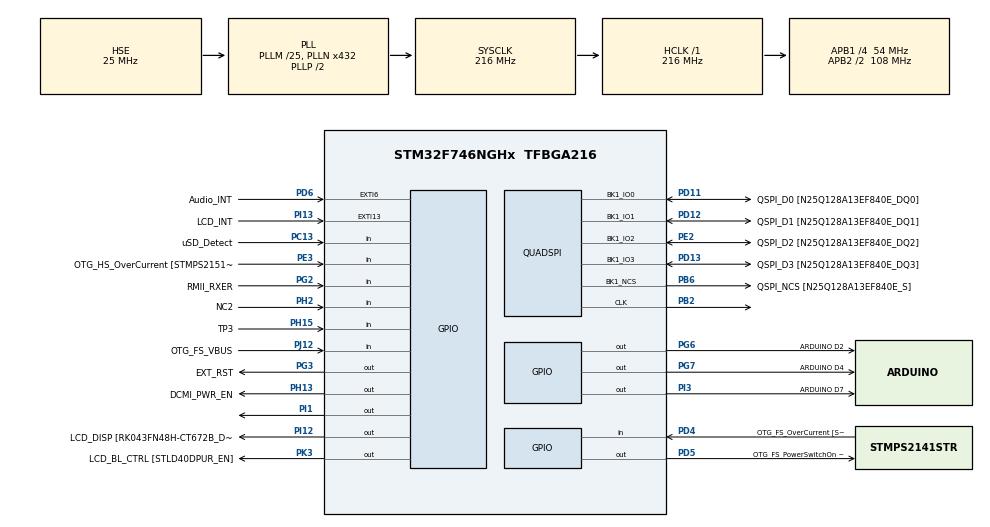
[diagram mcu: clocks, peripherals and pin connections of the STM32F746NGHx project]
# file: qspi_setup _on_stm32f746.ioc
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CORTEX_M7.CPU_DCache=Enabled
CORTEX_M7.CPU_ICache=Enabled
Mcu.Family=STM32F7
Mcu.Name=STM32F746NGHx
Mcu.Package=TFBGA216
NVIC.PriorityGroup=NVIC_PRIORITYGROUP_4
NVIC.RCC_IRQn=true\:0\:0\:false\:false\:true\:true\:false
PA0/WKUP.GPIO_Label=ARDUINO A0
PA0/WKUP.GPIO_Mode=GPIO_MODE_ANALOG
PA0/WKUP.GPIO_PuPd=GPIO_NOPULL
PA0/WKUP.Signal=ADCx_IN0
PA1.GPIO_Label=RMII_REF_CLK [LAN8742A-CZ-TR_REFCLK0]
PA1.Signal=ETH_REF_CLK
PA10.GPIO_Label=OTG_FS_ID
PA10.Signal=USB_OTG_FS_ID
PA11.GPIO_Label=OTG_FS_N
PA11.Signal=USB_OTG_FS_DM
PA12.GPIO_Label=OTG_FS_P
PA12.Signal=USB_OTG_FS_DP
PA13.GPIO_Label=SWDIO
PA13.Signal=SYS_JTMS-SWDIO
PA14.GPIO_Label=SWCLK
PA14.Signal=SYS_JTCK-SWCLK
PA15.GPIO_Label=ARDUINO PWM/D9
PA15.GPIO_ModeDefaultPP=GPIO_MODE_AF_PP
PA15.GPIO_PuPd=GPIO_NOPULL
PA15.GPIO_Speed=GPIO_SPEED_FREQ_LOW
PA15.Signal=S_TIM2_CH1_ETR
PA2.GPIO_Label=RMII_MDIO [LAN8742A-CZ-TR_MDIO]
PA2.Signal=ETH_MDIO
PA3.GPIO_Label=ULPI_D0 [USB3320C-EZK_D0]
PA3.Signal=USB_OTG_HS_ULPI_D0
PA4.GPIO_Label=DCMI_HSYNC
PA4.Signal=DCMI_HSYNC
PA5.GPIO_Label=ULPI_CLK [USB3320C-EZK_CLKOUT]
PA5.Signal=USB_OTG_HS_ULPI_CK
PA6.Signal=DCMI_PIXCLK
PA7.GPIO_Label=RMII_CRS_DV [LAN8742A-CZ-TR_CRS_DV]
PA7.Signal=ETH_CRS_DV
PA8.GPIO_Label=ARDUINO PWM/D10
PA8.GPIO_ModeDefaultPP=GPIO_MODE_AF_PP
PA8.GPIO_PuPd=GPIO_NOPULL
PA8.GPIO_Speed=GPIO_SPEED_FREQ_LOW
PA8.Signal=S_TIM1_CH1
PA9.GPIO_Label=VCP_TX [STM32F103CBT6_PA3]
PA9.GPIO_Mode=GPIO_MODE_AF_PP
PA9.GPIO_PuPd=GPIO_NOPULL
PA9.GPIO_Speed=GPIO_SPEED_FREQ_LOW
PA9.Signal=USART1_TX
PB0.GPIO_Label=ULPI_D1 [USB3320C-EZK_D1]
PB0.Signal=USB_OTG_HS_ULPI_D1
PB1.GPIO_Label=ULPI_D2 [USB3320C-EZK_D2]
PB1.Signal=USB_OTG_HS_ULPI_D2
PB10.GPIO_Label=ULPI_D3 [USB3320C-EZK_D3]
PB10.Signal=USB_OTG_HS_ULPI_D3
PB11.GPIO_Label=ULPI_D4 [USB3320C-EZK_D4]
PB11.Signal=USB_OTG_HS_ULPI_D4
PB12.GPIO_Label=ULPI_D5 [USB3320C-EZK_D5]
PB12.Signal=USB_OTG_HS_ULPI_D5
PB13.GPIO_Label=ULPI_D6 [USB3320C-EZK_D6]
PB13.Signal=USB_OTG_HS_ULPI_D6
PB14.GPIO_Label=ARDUINO MISO/D12
PB14.GPIO_Mode=GPIO_MODE_AF_PP
PB14.GPIO_PuPd=GPIO_NOPULL
PB14.GPIO_Speed=GPIO_SPEED_FREQ_LOW
PB14.Signal=SPI2_MISO
PB15.GPIO_Label=ARDUINO MOSI/PWM/D11
PB15.GPIO_Mode=GPIO_MODE_AF_PP
PB15.GPIO_PuPd=GPIO_NOPULL
PB15.GPIO_Speed=GPIO_SPEED_FREQ_LOW
PB15.Signal=SPI2_MOSI
PB2.Mode=Single Bank 1
PB2.Signal=QUADSPI_CLK
PB3.GPIO_Label=SWO
PB3.Signal=SYS_JTDO-SWO
PB4.GPIO_Label=ARDUINO PWM/D3
PB4.GPIO_ModeDefaultPP=GPIO_MODE_AF_PP
PB4.GPIO_PuPd=GPIO_NOPULL
PB4.GPIO_Speed=GPIO_SPEED_FREQ_LOW
PB4.Signal=S_TIM3_CH1
PB5.GPIO_Label=ULPI_D7 [USB3320C-EZK_D7]
PB5.Signal=USB_OTG_HS_ULPI_D7
PB6.GPIO_Label=QSPI_NCS [N25Q128A13EF840E_S]
PB6.Mode=Single Bank 1
PB6.Signal=QUADSPI_BK1_NCS
PB7.GPIO_Label=VCP_RX [STM32F103CBT6_PA2]
PB7.GPIO_Mode=GPIO_MODE_AF_PP
PB7.GPIO_PuPd=GPIO_NOPULL
PB7.GPIO_Speed=GPIO_SPEED_FREQ_LOW
PB7.Signal=USART1_RX
PB8.GPIO_Label=ARDUINO SCL/D15
PB8.GPIO_Mode=GPIO_MODE_AF_OD
PB8.GPIO_PuPd=GPIO_NOPULL
PB8.GPIO_Speed=GPIO_SPEED_FREQ_LOW
PB8.Signal=I2C1_SCL
PB9.GPIO_Label=ARDUINO SDA/D14
PB9.GPIO_Mode=GPIO_MODE_AF_OD
PB9.GPIO_PuPd=GPIO_NOPULL
PB9.GPIO_Speed=GPIO_SPEED_FREQ_LOW
PB9.Signal=I2C1_SDA
PC0.GPIO_Label=ULPI_STP [USB3320C-EZK_STP]
PC0.Signal=USB_OTG_HS_ULPI_STP
PC1.GPIO_Label=RMII_MDC [LAN8742A-CZ-TR_MDC]
PC1.Signal=ETH_MDC
PC10.GPIO_Label=SDMMC_D2
PC10.Signal=SDMMC1_D2
PC11.GPIO_Label=SDMMC_D3
PC11.Signal=SDMMC1_D3
PC12.GPIO_Label=SDMMC_CK
PC12.Signal=SDMMC1_CK
PC13.GPIO_Label=uSD_Detect
PC13.Signal=GPIO_Input
PC14/OSC32_IN.GPIO_Label=RCC_OSC32_IN
PC14/OSC32_IN.Signal=RCC_OSC32_IN
PC15/OSC32_OUT.GPIO_Label=RCC_OSC32_OUT
PC15/OSC32_OUT.Signal=RCC_OSC32_OUT
PC2.GPIO_Label=ULPI_DIR [USB3320C-EZK_DIR]
PC2.Signal=USB_OTG_HS_ULPI_DIR
PC3.GPIO_Label=FMC_SDCKE0 [MT48LC4M32B2B5-6A_CKE]
PC3.Signal=FMC_SDCKE0
PC4.GPIO_Label=RMII_RXD0 [LAN8742A-CZ-TR_RXD0]
PC4.Signal=ETH_RXD0
PC5.GPIO_Label=RMII_RXD1 [LAN8742A-CZ-TR_RXD1]
PC5.Signal=ETH_RXD1
PC6.GPIO_Label=ARDUINO TX/D1
PC6.Signal=USART6_TX
PC7.GPIO_Label=ARDUINO RX/D0
PC7.Signal=USART6_RX
PC8.Signal=SDMMC1_D0
PC9.Signal=SDMMC1_D1
PD0.GPIO_Label=FMC_D2 [MT48LC4M32B2B5-6A_DQ2]
PD0.Signal=FMC_D2_DA2
PD1.GPIO_Label=FMC_D3 [MT48LC4M32B2B5-6A_DQ3]
PD1.Signal=FMC_D3_DA3
PD10.GPIO_Label=FMC_D15 [MT48LC4M32B2B5-6A_DQ15]
PD10.Signal=FMC_D15_DA15
PD11.GPIO_Label=QSPI_D0 [N25Q128A13EF840E_DQ0]
PD11.Mode=Single Bank 1
PD11.Signal=QUADSPI_BK1_IO0
PD12.GPIO_Label=QSPI_D1 [N25Q128A13EF840E_DQ1]
PD12.Mode=Single Bank 1
PD12.Signal=QUADSPI_BK1_IO1
PD13.GPIO_Label=QSPI_D3 [N25Q128A13EF840E_DQ3]
PD13.Mode=Single Bank 1
PD13.Signal=QUADSPI_BK1_IO3
PD14.GPIO_Label=FMC_D0 [MT48LC4M32B2B5-6A_DQ0]
PD14.Signal=FMC_D0_DA0
PD15.GPIO_Label=FMC_D1 [MT48LC4M32B2B5-6A_DQ1]
PD15.Signal=FMC_D1_DA1
PD2.GPIO_Label=SDMMC_D0
PD2.Signal=SDMMC1_CMD
PD3.GPIO_Label=DCMI_D5
PD3.Signal=DCMI_D5
PD4.GPIO_Label=OTG_FS_OverCurrent [STMPS2141STR_Fault]
PD4.Signal=GPIO_Input
PD5.GPIO_Label=OTG_FS_PowerSwitchOn [STMPS2141STR_EN]
PD5.PinState=GPIO_PIN_SET
PD5.Signal=GPIO_Output
PD6.GPIO_Label=Audio_INT
PD6.GPIO_ModeDefaultEXTI=GPIO_MODE_EVT_RISING
PD6.Signal=GPXTI6
PD7.GPIO_Label=SPDIF_RX0 [74LVC1G04SE_4]
PD7.Signal=SPDIFRX_IN0
PD8.GPIO_Label=FMC_D13 [MT48LC4M32B2B5-6A_DQ13]
PD8.Signal=FMC_D13_DA13
PD9.GPIO_Label=FMC_D14 [MT48LC4M32B2B5-6A_DQ14]
PD9.Signal=FMC_D14_DA14
PE0.GPIO_Label=FMC_NBL0 [MT48LC4M32B2B5-6A_DQM0]
PE0.Signal=FMC_NBL0
PE1.GPIO_Label=FMC_NBL1 [MT48LC4M32B2B5-6A_DQM1]
PE1.Signal=FMC_NBL1
PE10.GPIO_Label=FMC_D7 [MT48LC4M32B2B5-6A_DQ7]
PE10.Signal=FMC_D7_DA7
PE11.GPIO_Label=FMC_D8 [MT48LC4M32B2B5-6A_DQ8]
PE11.Signal=FMC_D8_DA8
PE12.GPIO_Label=FMC_D9 [MT48LC4M32B2B5-6A_DQ9]
PE12.Signal=FMC_D9_DA9
PE13.GPIO_Label=FMC_D10 [MT48LC4M32B2B5-6A_DQ10]
PE13.Signal=FMC_D10_DA10
PE14.GPIO_Label=FMC_D11 [MT48LC4M32B2B5-6A_DQ11]
PE14.Signal=FMC_D11_DA11
PE15.GPIO_Label=FMC_D12 [MT48LC4M32B2B5-6A_DQ12]
PE15.Signal=FMC_D12_DA12
PE2.GPIO_Label=QSPI_D2 [N25Q128A13EF840E_DQ2]
PE2.Mode=Single Bank 1
PE2.Signal=QUADSPI_BK1_IO2
PE3.GPIO_Label=OTG_HS_OverCurrent [STMPS2151STR_FAULT]
PE3.Signal=GPIO_Input
PE4.GPIO_Label=LCD_B0 [RK043FN48H-CT672B_B0]
PE4.Signal=LTDC_B0
PE5.GPIO_Label=DCMI_D6
PE5.Signal=DCMI_D6
PE6.GPIO_Label=DCMI_D7
PE6.Signal=DCMI_D7
PE7.GPIO_Label=FMC_D4 [MT48LC4M32B2B5-6A_DQ4]
PE7.Signal=FMC_D4_DA4
PE8.GPIO_Label=FMC_D5 [MT48LC4M32B2B5-6A_DQ5]
PE8.Signal=FMC_D5_DA5
PE9.GPIO_Label=FMC_D6 [MT48LC4M32B2B5-6A_DQ6]
PE9.Signal=FMC_D6_DA6
PF0.GPIO_Label=FMC_A0 [MT48LC4M32B2B5-6A_A0]
PF0.Signal=FMC_A0
PF1.GPIO_Label=FMC_A1 [MT48LC4M32B2B5-6A_A1]
PF1.Signal=FMC_A1
PF10.GPIO_Label=ARDUINO A1
PF10.GPIO_Mode=GPIO_MODE_ANALOG
PF10.GPIO_PuPd=GPIO_NOPULL
PF10.Signal=ADC3_IN8
PF11.GPIO_Label=FMC_SDNRAS [MT48LC4M32B2B5-6A_RAS]
PF11.Signal=FMC_SDNRAS
PF12.GPIO_Label=FMC_A6 [MT48LC4M32B2B5-6A_A6]
PF12.Signal=FMC_A6
PF13.GPIO_Label=FMC_A7 [MT48LC4M32B2B5-6A_A7]
PF13.Signal=FMC_A7
PF14.GPIO_Label=FMC_A8 [MT48LC4M32B2B5-6A_A8]
PF14.Signal=FMC_A8
PF15.GPIO_Label=FMC_A9 [MT48LC4M32B2B5-6A_A9]
PF15.Signal=FMC_A9
PF2.GPIO_Label=FMC_A2 [MT48LC4M32B2B5-6A_A2]
PF2.Signal=FMC_A2
PF3.GPIO_Label=FMC_A3 [MT48LC4M32B2B5-6A_A3]
PF3.Signal=FMC_A3
PF4.GPIO_Label=FMC_A4 [MT48LC4M32B2B5-6A_A4]
PF4.Signal=FMC_A4
PF5.GPIO_Label=FMC_A5 [MT48LC4M32B2B5-6A_A5]
PF5.Signal=FMC_A5
PF6.GPIO_Label=ARDUINO A5
PF6.GPIO_Mode=GPIO_MODE_ANALOG
PF6.GPIO_PuPd=GPIO_NOPULL
PF6.Signal=ADC3_IN4
PF7.GPIO_Label=ARDUINO A4
PF7.GPIO_Mode=GPIO_MODE_ANALOG
PF7.GPIO_PuPd=GPIO_NOPULL
PF7.Signal=ADC3_IN5
PF8.GPIO_Label=ARDUINO A3
PF8.GPIO_Mode=GPIO_MODE_ANALOG
PF8.GPIO_PuPd=GPIO_NOPULL
PF8.Signal=ADC3_IN6
PF9.GPIO_Label=ARDUINO A2
PF9.GPIO_Mode=GPIO_MODE_ANALOG
PF9.GPIO_PuPd=GPIO_NOPULL
PF9.Signal=ADC3_IN7
PG0.GPIO_Label=FMC_A10 [MT48LC4M32B2B5-6A_A10]
PG0.Signal=FMC_A10
PG1.GPIO_Label=FMC_A11 [MT48LC4M32B2B5-6A_A11]
PG1.Signal=FMC_A11
PG10.GPIO_Label=SAI2_SDB [WM8994ECS/R_ADCDAT1]
PG10.Signal=SAI2_SD_B
PG11.GPIO_Label=RMII_TX_EN [LAN8742A-CZ-TR_TXEN]
PG11.Signal=ETH_TX_EN
PG12.GPIO_Label=LCD_B4 [RK043FN48H-CT672B_B4]
PG12.Signal=LTDC_B4
PG13.GPIO_Label=RMII_TXD0 [LAN8742A-CZ-TR_TXD0]
PG13.Signal=ETH_TXD0
PG14.GPIO_Label=RMII_TXD1 [LAN8742A-CZ-TR_TXD1]
PG14.Signal=ETH_TXD1
PG15.GPIO_Label=FMC_SDNCAS [MT48LC4M32B2B5-6A_CAS]
PG15.Signal=FMC_SDNCAS
PG2.GPIO_Label=RMII_RXER
PG2.Signal=GPIO_Input
PG3.GPIO_Label=EXT_RST
PG3.Signal=GPIO_Output
PG4.GPIO_Label=FMC_BA0 [MT48LC4M32B2B5-6A_BA0]
PG4.Signal=FMC_A14_BA0
PG5.GPIO_Label=FMC_BA1 [MT48LC4M32B2B5-6A_BA1]
PG5.Signal=FMC_A15_BA1
PG6.GPIO_Label=ARDUINO D2
PG6.Signal=GPIO_Output
PG7.GPIO_Label=ARDUINO D4
PG7.Signal=GPIO_Output
PG8.GPIO_Label=FMC_SDCLK [MT48LC4M32B2B5-6A_CLK]
PG8.Signal=FMC_SDCLK
PG9.GPIO_Label=DCMI_VSYNC
PG9.Signal=DCMI_VSYNC
PH0/OSC_IN.GPIO_Label=OSC_25M [NZ2520SB-25.00M_OUT]
PH0/OSC_IN.Mode=HSE-External-Oscillator
PH0/OSC_IN.Signal=RCC_OSC_IN
PH1/OSC_OUT.Mode=HSE-External-Oscillator
PH1/OSC_OUT.Signal=RCC_OSC_OUT
PH10.GPIO_Label=DCMI_D1
PH10.Signal=DCMI_D1
PH11.GPIO_Label=DCMI_D2
PH11.Signal=DCMI_D2
PH12.GPIO_Label=DCMI_D3
PH12.Signal=DCMI_D3
PH13.GPIO_Label=DCMI_PWR_EN
PH13.Signal=GPIO_Output
PH14.GPIO_Label=DCMI_D4
PH14.Signal=DCMI_D4
PH15.GPIO_Label=TP3
PH15.Signal=GPIO_Input
PH2.GPIO_Label=NC2
PH2.Signal=GPIO_Input
PH3.GPIO_Label=FMC_SDNE0 [MT48LC4M32B2B5-6A_CS]
PH3.Signal=FMC_SDNE0
PH4.GPIO_Label=ULPI_NXT [USB3320C-EZK_NXT]
PH4.Signal=USB_OTG_HS_ULPI_NXT
PH5.GPIO_Label=FMC_SDNME [MT48LC4M32B2B5-6A_WE]
PH5.Signal=FMC_SDNWE
PH6.GPIO_Label=ARDUINO PWM/D6
PH6.Signal=S_TIM12_CH1
PH7.GPIO_Label=LCD_SCL [RK043FN48H-CT672B_SCL]
PH7.Signal=I2C3_SCL
PH8.GPIO_Label=LCD_SDA [RK043FN48H-CT672B_SDA]
PH8.Signal=I2C3_SDA
PH9.GPIO_Label=DCMI_D0
PH9.Signal=DCMI_D0
PI0.GPIO_Label=ARDUINO PWM/CS/D5
PI0.GPIO_ModeDefaultPP=GPIO_MODE_AF_PP
PI0.GPIO_PuPd=GPIO_NOPULL
PI0.GPIO_Speed=GPIO_SPEED_FREQ_LOW
PI0.Signal=S_TIM5_CH4
PI1.Signal=GPIO_Output
PI10.GPIO_Label=LCD_HSYNC [RK043FN48H-CT672B_HSYNC]
PI10.Signal=LTDC_HSYNC
PI12.GPIO_Label=LCD_DISP [RK043FN48H-CT672B_DISP] 
PI12.Signal=GPIO_Output
PI13.GPIO_Label=LCD_INT
PI13.GPIO_ModeDefaultEXTI=GPIO_MODE_EVT_RISING
PI13.Signal=GPXTI13
PI14.GPIO_Label=LCD_CLK [RK043FN48H-CT672B_CLK]
PI14.Signal=LTDC_CLK
PI15.GPIO_Label=LCD_R0 [RK043FN48H-CT672B_R0]
PI15.Signal=LTDC_R0
PI3.GPIO_Label=ARDUINO D7
PI3.Signal=GPIO_Output
PI4.GPIO_Label=SAI2_MCLKA [WM8994ECS/R_MCLK1]
PI4.Signal=SAI2_MCLK_A
PI5.GPIO_Label=SAI2_SCKA [WM8994ECS/R_BCLK1]
PI5.Signal=SAI2_SCK_A
PI6.GPIO_Label=SAI2_SDA [WM8994ECS/R_DACDAT1]
PI6.Signal=SAI2_SD_A
PI7.GPIO_Label=SAI2_FSA [WM8994ECS/R_LRCLK1]
PI7.Signal=SAI2_FS_A
PI8.GPIO_Label=NC1 [TP2]
PI8.Signal=RTC_TS
PI9.GPIO_Label=LCD_VSYNC [RK043FN48H-CT672B_VSYNC]
PI9.Signal=LTDC_VSYNC
PJ0.GPIO_Label=LCD_R1 [RK043FN48H-CT672B_R1]
PJ0.Signal=LTDC_R1
PJ1.GPIO_Label=LCD_R2 [RK043FN48H-CT672B_R2]
PJ1.Signal=LTDC_R2
PJ10.GPIO_Label=LCD_G3 [RK043FN48H-CT672B_G3]
PJ10.Signal=LTDC_G3
PJ11.GPIO_Label=LCD_G4 [RK043FN48H-CT672B_G4]
PJ11.Signal=LTDC_G4
PJ12.GPIO_Label=OTG_FS_VBUS
PJ12.Signal=GPIO_Input
PJ13.GPIO_Label=LCD_B1 [RK043FN48H-CT672B_B1]
PJ13.Signal=LTDC_B1
PJ14.GPIO_Label=LCD_B2 [RK043FN48H-CT672B_B2]
PJ14.Signal=LTDC_B2
PJ15.GPIO_Label=LCD_B3 [RK043FN48H-CT672B_B3]
PJ15.Signal=LTDC_B3
PJ2.GPIO_Label=LCD_R3 [RK043FN48H-CT672B_R3]
PJ2.Signal=LTDC_R3
PJ3.GPIO_Label=LCD_R4 [RK043FN48H-CT672B_R4]
PJ3.Signal=LTDC_R4
PJ4.GPIO_Label=LCD_R5 [RK043FN48H-CT672B_R5]
PJ4.Signal=LTDC_R5
PJ5.GPIO_Label=LCD_R6 [RK043FN48H-CT672B_R6]
PJ5.Signal=LTDC_R6
PJ6.GPIO_Label=LCD_R7 [RK043FN48H-CT672B_R7]
PJ6.Signal=LTDC_R7
PJ7.GPIO_Label=LCD_G0 [RK043FN48H-CT672B_G0]
PJ7.Signal=LTDC_G0
PJ8.GPIO_Label=LCD_G1 [RK043FN48H-CT672B_G1]
PJ8.Signal=LTDC_G1
PJ9.GPIO_Label=LCD_G2 [RK043FN48H-CT672B_G2]
PJ9.Signal=LTDC_G2
PK0.GPIO_Label=LCD_G5 [RK043FN48H-CT672B_G5]
PK0.Signal=LTDC_G5
PK1.GPIO_Label=LCD_G6 [RK043FN48H-CT672B_G6]
PK1.Signal=LTDC_G6
PK2.GPIO_Label=LCD_G7 [RK043FN48H-CT672B_G7]
PK2.Signal=LTDC_G7
PK3.GPIO_Label=LCD_BL_CTRL [STLD40DPUR_EN]
PK3.Signal=GPIO_Output
PK4.GPIO_Label=LCD_B5 [RK043FN48H-CT672B_B5]
PK4.Signal=LTDC_B5
PK5.GPIO_Label=LCD_B6 [RK043FN48H-CT672B_B6]
PK5.Signal=LTDC_B6
PK6.GPIO_Label=LCD_B7 [RK043FN48H-CT672B_B7]
PK6.Signal=LTDC_B7
PK7.GPIO_Label=LCD_DE [RK043FN48H-CT672B_DE]
PK7.Signal=LTDC_DE
ProjectManager.HeapSize=0x200
ProjectManager.StackSize=0x400
ProjectManager.TargetToolchain=STM32CubeIDE
QUADSPI.ChipSelectHighTime=QSPI_CS_HIGH_TIME_6_CYCLE
QUADSPI.ClockPrescaler=1
QUADSPI.FifoThreshold=4
QUADSPI.FlashSize=23
QUADSPI.SampleShifting=QSPI_SAMPLE_SHIFTING_HALFCYCLE
RCC.AHBFreq_Value=216000000
RCC.APB1CLKDivider=RCC_HCLK_DIV4
RCC.APB1Freq_Value=54000000
RCC.APB1TimFreq_Value=108000000
RCC.APB2CLKDivider=RCC_HCLK_DIV2
RCC.APB2Freq_Value=108000000
RCC.APB2TimFreq_Value=216000000
RCC.CortexFreq_Value=216000000
RCC.HCLKFreq_Value=216000000
RCC.HSE_VALUE=25000000
RCC.HSI_VALUE=16000000
RCC.LSE_VALUE=32768
RCC.PLLM=25
RCC.PLLN=432
RCC.PLLSourceVirtual=RCC_PLLSOURCE_HSE
RCC.SYSCLKFreq_VALUE=216000000
RCC.SYSCLKSource=RCC_SYSCLKSOURCE_PLLCLK
RCC.USBFreq_Value=216000000
RCC.VCOOutputFreq_Value=432000000
SH.ADCx_IN0.0=ADC3_IN0
SH.FMC_A0.0=FMC_A0
SH.FMC_A1.0=FMC_A1
SH.FMC_A10.0=FMC_A10
SH.FMC_A11.0=FMC_A11
SH.FMC_A14_BA0.0=FMC_BA0
SH.FMC_A15_BA1.0=FMC_BA1
SH.FMC_A2.0=FMC_A2
SH.FMC_A3.0=FMC_A3
SH.FMC_A4.0=FMC_A4
SH.FMC_A5.0=FMC_A5
SH.FMC_A6.0=FMC_A6
SH.FMC_A7.0=FMC_A7
SH.FMC_A8.0=FMC_A8
SH.FMC_A9.0=FMC_A9
SH.FMC_D0_DA0.0=FMC_D0
SH.FMC_D10_DA10.0=FMC_D10
SH.FMC_D11_DA11.0=FMC_D11
SH.FMC_D12_DA12.0=FMC_D12
SH.FMC_D13_DA13.0=FMC_D13
SH.FMC_D14_DA14.0=FMC_D14
SH.FMC_D15_DA15.0=FMC_D15
SH.FMC_D1_DA1.0=FMC_D1
SH.FMC_D2_DA2.0=FMC_D2
SH.FMC_D3_DA3.0=FMC_D3
SH.FMC_D4_DA4.0=FMC_D4
SH.FMC_D5_DA5.0=FMC_D5
SH.FMC_D6_DA6.0=FMC_D6
SH.FMC_D7_DA7.0=FMC_D7
SH.FMC_D8_DA8.0=FMC_D8
SH.FMC_D9_DA9.0=FMC_D9
SH.FMC_NBL0.0=FMC_NBL0
SH.FMC_NBL1.0=FMC_NBL1
SH.FMC_SDCLK.0=FMC_SDCLK
SH.FMC_SDNCAS.0=FMC_SDNCAS
SH.FMC_SDNRAS.0=FMC_SDNRAS
SH.FMC_SDNWE.0=FMC_SDNWE
SH.S_TIM12_CH1.0=TIM12_CH1
SH.S_TIM1_CH1.0=TIM1_CH1
SH.S_TIM2_CH1_ETR.0=TIM2_CH1
SH.S_TIM3_CH1.0=TIM3_CH1
SH.S_TIM5_CH4.0=TIM5_CH4
board=STM32F746G-DISCO

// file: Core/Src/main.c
/* USER CODE BEGIN Header */
/**
 ******************************************************************************
 * @file           : main.c
 * @brief          : Main program body
 ******************************************************************************
 * @attention
 *
 * Copyright (c) 2022 STMicroelectronics.
 * All rights reserved.
 *
 * This software is licensed under terms that can be found in the LICENSE file
 * in the root directory of this software component.
 * If no LICENSE file comes with this software, it is provided AS-IS.
 *
 ******************************************************************************
 */
/* USER CODE END Header */
#include "main.h"
#include "quadspi.h"
#include "gpio.h"

/* USER CODE BEGIN Includes */
#include "string.h"
/* USER CODE END Includes */

void SystemClock_Config(void);

/* USER CODE BEGIN 0 */

//uint8_t *writebuffer = " Hello world from QSPI ";
//uint8_t readbuffer[100];
typedef void (*pFunction)(void);
pFunction JumpToApplication;
#define APPLICATION_ADDRESS   0x90000000

/* USER CODE END 0 */

int main(void) {
	/* USER CODE BEGIN 1 */
	int result1, result2;
	/* USER CODE END 1 */

	/* Enable I-Cache---------------------------------------------------------*/
	SCB_EnableICache();

	/* Enable D-Cache---------------------------------------------------------*/
	SCB_EnableDCache();

	/* MCU Configuration--------------------------------------------------------*/

	/* Reset of all peripherals, Initializes the Flash interface and the Systick. */
	HAL_Init();

	/* Configure the system clock */
	SystemClock_Config();

	/* Initialize all configured peripherals */
	MX_GPIO_Init();
	MX_QUADSPI_Init();

	/* USER CODE BEGIN 2 */

	if (CSP_QUADSPI_Init() != HAL_OK) {
		Error_Handler();
	}

	//	if (CSP_QSPI_Erase_Chip() != HAL_OK) {
	//		Error_Handler();
	//	}

//	if (CSP_QSPI_EraseSector(0, 0xffff) != HAL_OK) {
//		Error_Handler();
//	}
//
//	if (CSP_QSPI_Write(writebuffer, 0, strlen(writebuffer)) != HAL_OK) {
//		Error_Handler();
//	}

	if (CSP_QSPI_EnableMemoryMappedMode() != HAL_OK) {
		Error_Handler();
	}

//  	if (CSP_QSPI_Read(readbuffer, 0, strlen(writebuffer)) != HAL_OK) {
//  		Error_Handler();
//  	}

//	memcpy(readbuffer, 0x90000000, strlen(writebuffer));
//	result1 = memcmp(readbuffer, (uint8_t*) 0x90000000, strlen(writebuffer));
//	result2 = memcmp(readbuffer, writebuffer, strlen(writebuffer));
//  	result=memcmp(readbuffer,writebuffer,strlen(writebuffer));

//	if (result1 == 0) {
//
//		HAL_GPIO_WritePin(GPIOI, GPIO_PIN_1, GPIO_PIN_SET);
//	}
//
//	else {
//
//		HAL_GPIO_WritePin(GPIOI, GPIO_PIN_1, GPIO_PIN_RESET);
//	}

		SCB_DisableICache();
		SCB_DisableDCache();

		SysTick->CTRL=0;

		JumpToApplication =
				(pFunction) (*(__IO uint32_t*) (APPLICATION_ADDRESS + 4));
		__set_MSP(*(__IO uint32_t*) (APPLICATION_ADDRESS + 4));
		JumpToApplication();

	/* USER CODE END 2 */

	/* Infinite loop */
	while (1) {

	}
}

void SystemClock_Config(void) {
	RCC_OscInitTypeDef RCC_OscInitStruct = { 0 };
	RCC_ClkInitTypeDef RCC_ClkInitStruct = { 0 };

	/** Configure the main internal regulator output voltage
	 */
	__HAL_RCC_PWR_CLK_ENABLE();
	__HAL_PWR_VOLTAGESCALING_CONFIG(PWR_REGULATOR_VOLTAGE_SCALE1);
	/** Initializes the RCC Oscillators according to the specified parameters
	 * in the RCC_OscInitTypeDef structure.
	 */
	RCC_OscInitStruct.OscillatorType = RCC_OSCILLATORTYPE_HSE;
	RCC_OscInitStruct.HSEState = RCC_HSE_ON;
	RCC_OscInitStruct.PLL.PLLState = RCC_PLL_ON;
	RCC_OscInitStruct.PLL.PLLSource = RCC_PLLSOURCE_HSE;
	RCC_OscInitStruct.PLL.PLLM = 25;
	RCC_OscInitStruct.PLL.PLLN = 432;
	RCC_OscInitStruct.PLL.PLLP = RCC_PLLP_DIV2;
	RCC_OscInitStruct.PLL.PLLQ = 2;
	if (HAL_RCC_OscConfig(&RCC_OscInitStruct) != HAL_OK) {
		Error_Handler();
	}
	/** Activate the Over-Drive mode
	 */
	if (HAL_PWREx_EnableOverDrive() != HAL_OK) {
		Error_Handler();
	}
	/** Initializes the CPU, AHB and APB buses clocks
	 */
	RCC_ClkInitStruct.ClockType = RCC_CLOCKTYPE_HCLK | RCC_CLOCKTYPE_SYSCLK
			| RCC_CLOCKTYPE_PCLK1 | RCC_CLOCKTYPE_PCLK2;
	RCC_ClkInitStruct.SYSCLKSource = RCC_SYSCLKSOURCE_PLLCLK;
	RCC_ClkInitStruct.AHBCLKDivider = RCC_SYSCLK_DIV1;
	RCC_ClkInitStruct.APB1CLKDivider = RCC_HCLK_DIV4;
	RCC_ClkInitStruct.APB2CLKDivider = RCC_HCLK_DIV2;

	if (HAL_RCC_ClockConfig(&RCC_ClkInitStruct, FLASH_LATENCY_7) != HAL_OK) {
		Error_Handler();
	}
}

void Error_Handler(void) {
	__disable_irq();
	while (1) {
	}
}
